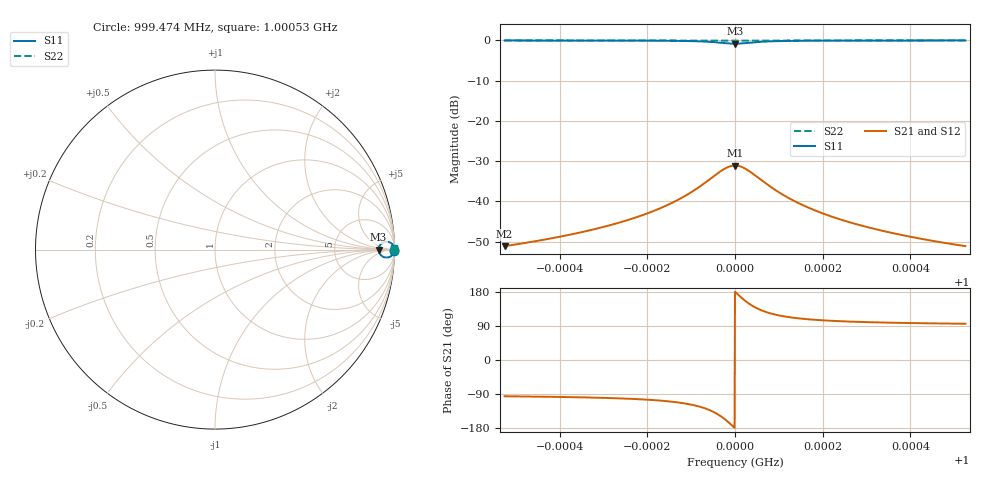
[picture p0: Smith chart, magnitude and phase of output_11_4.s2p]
! File generated for n1 = 11, n2 = 4
! b1 = 0.046416
! b2 = 0.004642
! Q0 = 10000.000000
! f0 = 1000000000.000000
! n = 1001
! rel_span = 10.000000
# Hz S RI R 50
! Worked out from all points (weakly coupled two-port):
!   1001 points, 999.474 MHz to 1.00053 GHz, reference 50 ohm
!   highest |S21| = -31.08 dB at 1 GHz (marker M1); lowest = -51.1 dB at 999.474 MHz (marker M2)
!   lowest |S11| = -0.8 dB at 1 GHz (marker M3), VSWR 21.64, Z = 1.08e+03 + j0 ohm
!   |S11| at or under -10 dB: nowhere
!   |S22| runs from -0.1 to 0.0 dB; largest |S21 - S12| = 0
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9.994745e8  0.9991 -0.00874  -0.000276 -0.00276  -0.000276 -0.00276  0.9999 -0.000874
9.995649e8  0.9987 -0.0105  -0.000401 -0.00332  -0.000401 -0.00332  0.9999 -0.00105
9.9965e8  0.9981 -0.013  -0.000616 -0.0041  -0.000616 -0.0041  0.9998 -0.0013
9.997467e8  0.9964 -0.0176  -0.00115 -0.00555  -0.00115 -0.00555  0.9996 -0.00176
9.998255e8  0.9927 -0.0244  -0.00232 -0.00771  -0.00232 -0.00771  0.9993 -0.00244
9.998602e8  0.9891 -0.0291  -0.00346 -0.0092  -0.00346 -0.0092  0.9989 -0.00291
9.998917e8  0.9832 -0.0347  -0.00533 -0.011  -0.00533 -0.011  0.9983 -0.00347
9.999201e8  0.9733 -0.0406  -0.00844 -0.0128  -0.00844 -0.0128  0.9973 -0.00406
9.999548e8  0.9492 -0.0437  -0.0161 -0.0138  -0.0161 -0.0138  0.9949 -0.00437
9.999811e8  0.9218 -0.0281  -0.0247 -0.0089  -0.0247 -0.0089  0.9922 -0.00281
1e9  0.9117 0  -0.0279 0  -0.0279 0  0.9912 0
1.000009e9  0.9144 0.0154  -0.0271 0.00487  -0.0271 0.00487  0.9914 0.00154
1.00002e9  0.9228 0.0293  -0.0244 0.00927  -0.0244 0.00927  0.9923 0.00293
1.000046e9  0.9502 0.0438  -0.0157 0.0139  -0.0157 0.0139  0.995 0.00438
1.000081e9  0.9738 0.0403  -0.00828 0.0128  -0.00828 0.0128  0.9974 0.00403
1.000109e9  0.9834 0.0345  -0.00524 0.0109  -0.00524 0.0109  0.9983 0.00345
1.000141e9  0.9892 0.0289  -0.00341 0.00915  -0.00341 0.00915  0.9989 0.00289
1.000176e9  0.9927 0.0243  -0.0023 0.00767  -0.0023 0.00767  0.9993 0.00243
1.000254e9  0.9964 0.0175  -0.00114 0.00554  -0.00114 0.00554  0.9996 0.00175
1.000351e9  0.9981 0.0129  -0.000612 0.00409  -0.000612 0.00409  0.9998 0.00129
1.000436e9  0.9987 0.0105  -0.0004 0.00332  -0.0004 0.00332  0.9999 0.00105
1.000526e9  0.9991 0.00875  -0.000277 0.00277  -0.000277 0.00277  0.9999 0.000875
